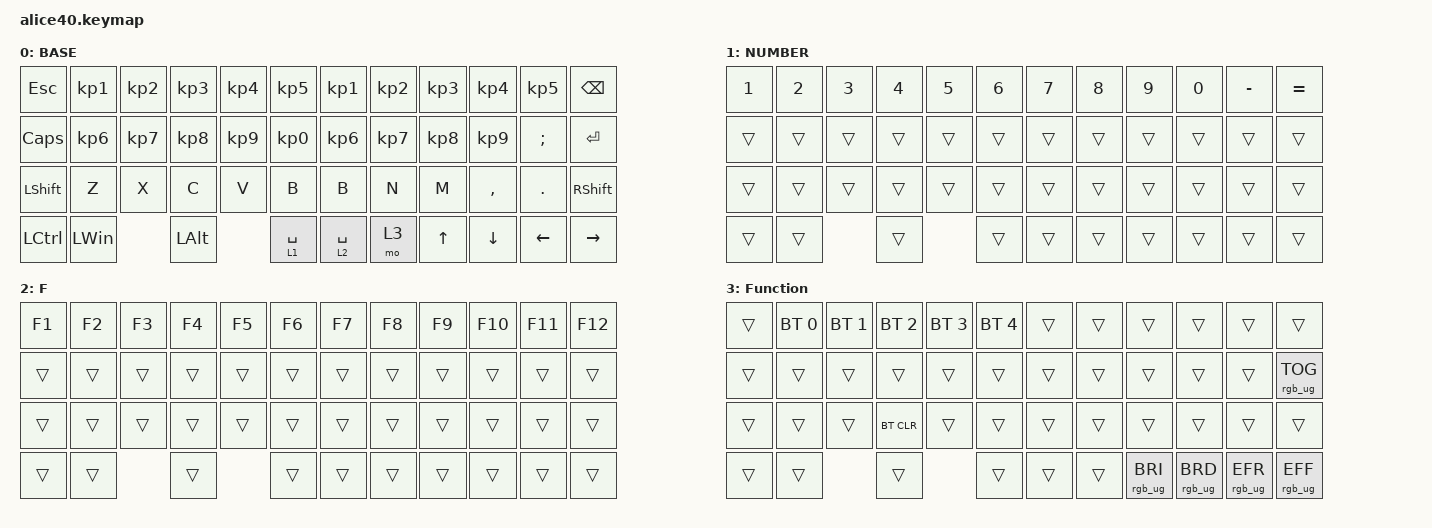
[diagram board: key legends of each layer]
#include <behaviors.dtsi>
#include <dt-bindings/zmk/bt.h>
#include <dt-bindings/zmk/keys.h>
#include <dt-bindings/zmk/rgb.h>

/ {
    keymap {
        compatible = "zmk,keymap";

        Base_layer {
            label = "BASE";
            bindings = <
&kp ESC       &kp KP_NUMBER_1  &kp KP_NUMBER_2  &kp KP_NUMBER_3  &kp KP_NUMBER_4  &kp KP_NUMBER_5  &kp KP_NUMBER_1  &kp KP_NUMBER_2  &kp KP_NUMBER_3  &kp KP_NUMBER_4  &kp KP_NUMBER_5  &kp BACKSPACE
&kp CAPSLOCK  &kp KP_NUMBER_6  &kp KP_NUMBER_7  &kp KP_NUMBER_8  &kp KP_NUMBER_9  &kp KP_NUMBER_0  &kp KP_NUMBER_6  &kp KP_NUMBER_7  &kp KP_NUMBER_8  &kp KP_NUMBER_9  &kp SEMICOLON    &kp ENTER
&kp LSHIFT    &kp Z            &kp X            &kp C            &kp V            &kp B            &kp B            &kp N            &kp M            &kp COMMA        &kp DOT          &kp RSHIFT
&kp LCTRL     &kp LEFT_WIN                      &kp LEFT_ALT                      &lt 1 SPACE      &lt 2 SPACE      &mo 3            &kp UP           &kp DOWN         &kp LEFT         &kp RIGHT
            >;
        };

        Number_layer {
            bindings = <
&kp N1  &kp N2  &kp N3  &kp N4  &kp N5  &kp N6  &kp N7  &kp N8  &kp N9  &kp N0  &kp MINUS  &kp EQUAL
&trans  &trans  &trans  &trans  &trans  &trans  &trans  &trans  &trans  &trans  &trans     &trans
&trans  &trans  &trans  &trans  &trans  &trans  &trans  &trans  &trans  &trans  &trans     &trans
&trans  &trans          &trans          &trans  &trans  &trans  &trans  &trans  &trans     &trans
            >;

            label = "NUMBER";
        };

        F_layer {
            bindings = <
&kp F1  &kp F2  &kp F3  &kp F4  &kp F5  &kp F6  &kp F7  &kp F8  &kp F9  &kp F10  &kp F11  &kp F12
&trans  &trans  &trans  &trans  &trans  &trans  &trans  &trans  &trans  &trans   &trans   &trans
&trans  &trans  &trans  &trans  &trans  &trans  &trans  &trans  &trans  &trans   &trans   &trans
&trans  &trans          &trans          &trans  &trans  &trans  &trans  &trans   &trans   &trans
            >;

            label = "F";
        };

        Function_layer {
            bindings = <
&trans  &bt BT_SEL 0  &bt BT_SEL 1  &bt BT_SEL 2  &bt BT_SEL 3  &bt BT_SEL 4  &trans  &trans  &trans           &trans           &trans           &trans
&trans  &trans        &trans        &trans        &trans        &trans        &trans  &trans  &trans           &trans           &trans           &rgb_ug RGB_TOG
&trans  &trans        &trans        &bt BT_CLR    &trans        &trans        &trans  &trans  &trans           &trans           &trans           &trans
&trans  &trans                      &trans                      &trans        &trans  &trans  &rgb_ug RGB_BRI  &rgb_ug RGB_BRD  &rgb_ug RGB_EFR  &rgb_ug RGB_EFF
            >;

            label = "Function";
        };
    };
};
